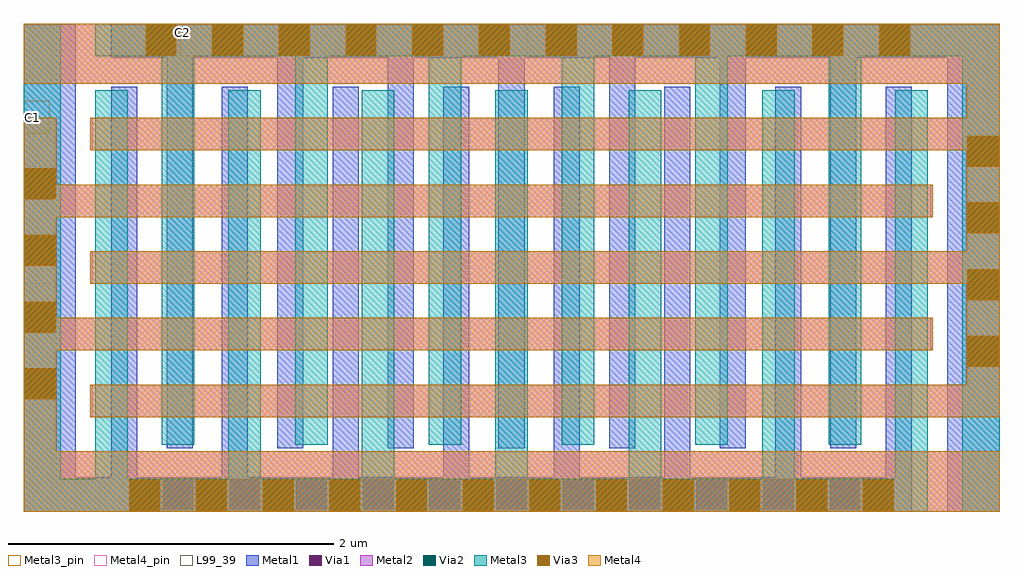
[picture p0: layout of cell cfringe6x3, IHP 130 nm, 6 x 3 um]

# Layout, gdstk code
import gdstk
lib = gdstk.Library(unit=1e-6, precision=1e-09)
def R(c, l, rs):  # rectangles x0, y0, x1, y1
    for r in rs: c.add(gdstk.rectangle(r[:2], r[2:], *l))
def A(c, l, x, y, w, h, nx, ny, dx, dy):  # array of equal rectangles
    R(c, l, [(x+i*dx, y+j*dy, x+i*dx+w, y+j*dy+h) for i in range(nx) for j in range(ny)])
Metal1 = (8, 0)
Metal2 = (10, 0)
Via1 = (19, 0)
Via2 = (29, 0)
Metal3 = (30, 0)
Metal3_pin = (30, 2)
Via3 = (49, 0)
Metal4 = (50, 0)
Metal4_pin = (50, 2)
L99_39 = (99, 39)

cap_mfringe = lib.new_cell('cap_mfringe')
A(cap_mfringe, Metal1, 0.54, 0, 0.16, 2.61, 8, 1, 0.68, 0)
A(cap_mfringe, Metal1, 0.88, 0.39, 0.16, 2.61, 7, 1, 0.68, 0)
R(cap_mfringe, Metal1, [(0,0,0.32,3), (0,0,5.46,0.21), (5.68,0,6,3), (0.54,2.79,6,3)])
A(cap_mfringe, Metal2, 0.42, 0.58, 5.58, 0.2, 1, 3, 0, 0.82)
R(cap_mfringe, Metal2, [(0,0,6,0.37), (0,0,0.205,2.42), (5.795,0.58,6,3), (0,0.99,5.58,1.19), (0,1.81,5.58,2.01), (0,2.63,6,3)])
A(cap_mfringe, Via1, 0.855, 0.01, 0.19, 0.19, 11, 1, 0.41, 0)
A(cap_mfringe, Via1, 0.01, 0.69, 0.19, 0.19, 1, 4, 0, 0.41)
A(cap_mfringe, Via1, 5.8, 0.89, 0.19, 0.19, 1, 4, 0, 0.41)
A(cap_mfringe, Via1, 0.75, 2.8, 0.19, 0.19, 12, 1, 0.41, 0)
A(cap_mfringe, Via2, 0.65, 0.005, 0.19, 0.19, 12, 1, 0.41, 0)
A(cap_mfringe, Via2, 0.005, 0.69, 0.19, 0.19, 1, 4, 0, 0.41)
A(cap_mfringe, Via2, 5.805, 0.89, 0.19, 0.19, 1, 4, 0, 0.41)
A(cap_mfringe, Via2, 0.75, 2.805, 0.19, 0.19, 12, 1, 0.41, 0)
A(cap_mfringe, Metal3, 0.44, 0, 0.2, 2.59, 7, 1, 0.82, 0)
A(cap_mfringe, Metal3, 0.85, 0.41, 0.2, 2.59, 6, 1, 0.82, 0)
R(cap_mfringe, Metal3, [(0,0,0.23,3), (0,0,5.56,0.2), (5.77,0,6,3), (0.44,2.8,6,3)])
A(cap_mfringe, Via3, 0.65, 0.005, 0.19, 0.19, 12, 1, 0.41, 0)
A(cap_mfringe, Via3, 0.005, 0.69, 0.19, 0.19, 1, 4, 0, 0.41)
A(cap_mfringe, Via3, 5.805, 0.89, 0.19, 0.19, 1, 4, 0, 0.41)
A(cap_mfringe, Via3, 0.75, 2.805, 0.19, 0.19, 12, 1, 0.41, 0)
A(cap_mfringe, Metal4, 0.41, 0.58, 5.59, 0.2, 1, 3, 0, 0.82)
R(cap_mfringe, Metal4, [(0,0,6,0.37), (0,0,0.2,2.42), (5.8,0.58,6,3), (0,0.99,5.59,1.19), (0,1.81,5.59,2.01), (0,2.63,6,3)])
R(cap_mfringe, Metal4_pin, [(0,1.4,0.2,1.6), (2.9,2.8,3.1,3)])
R(cap_mfringe, L99_39, [(0,0,6,3)])
cap_mfringe.add(gdstk.Label('cap_mfringe C=41.760fF', (0,-0.5), layer=63, texttype=0))

cfringe6x3 = lib.new_cell('cfringe6x3')
cfringe6x3.add(gdstk.FlexPath([(-1.49,3.385),(-1.33,3.385)], 0.2, ends="flush", simple_path=True, layer=30, datatype=2))  # Metal3_pin
cfringe6x3.add(gdstk.FlexPath([(-0.43,3.96),(-0.43,3.76)], 0.2, ends="flush", simple_path=True, layer=30, datatype=2))  # Metal3_pin
r = gdstk.Reference(cap_mfringe, (-1.49,0.96)); r.repetition = gdstk.Repetition(1, 1, v1=(0,0), v2=(0,0)); cfringe6x3.add(r)
cfringe6x3.add(gdstk.Label('C1', (-1.435,3.385), layer=30, texttype=25))
cfringe6x3.add(gdstk.Label('C2', (-0.515,3.905), layer=30, texttype=25))

lib.write_gds('cfringe6x3.gds')
